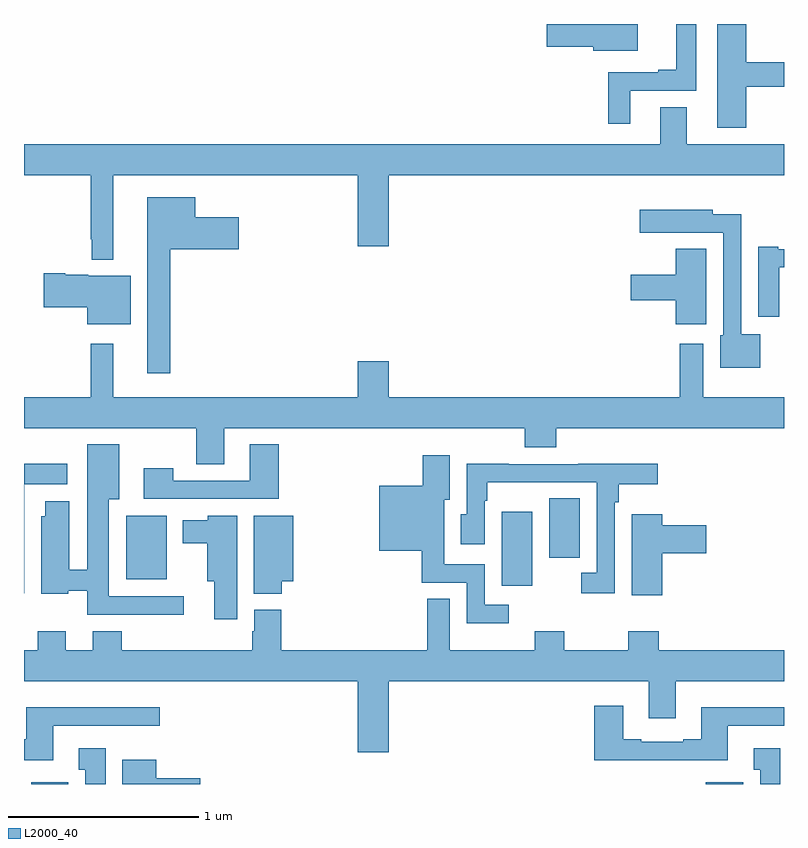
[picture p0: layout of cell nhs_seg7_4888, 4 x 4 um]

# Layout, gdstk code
import gdstk
lib = gdstk.Library(unit=1e-6, precision=1e-09)
def R(c, l, rs):  # rectangles x0, y0, x1, y1
    for r in rs: c.add(gdstk.rectangle(r[:2], r[2:], *l))
def P(c, l, *ps):  # polygons
    for p in ps: c.add(gdstk.Polygon(p, *l))
L2000_40 = (2000, 40)

nhs_seg7_4888 = lib.new_cell('nhs_seg7_4888')
R(nhs_seg7_4888, L2000_40, [(415.037,1076,415.234,1076.008), (418.589,1076,418.786,1076.008), (417.515,1077.044,417.676,1077.433), (415.538,1077.077,415.75,1077.412), (417.764,1077.192,417.925,1077.503)])
P(nhs_seg7_4888, L2000_40, [(418.231,1080),(417.75,1080),(417.75,1079.879),(417.995,1079.879),(417.995,1079.858),(418.231,1079.858)],
  [(418.802,1079.67),(419,1079.67),(419,1079.798),(418.802,1079.798),(418.802,1080),(418.649,1080),(418.649,1079.453),(418.802,1079.453)],
  [(418.192,1079.649),(418.537,1079.649),(418.537,1080),(418.433,1080),(418.433,1079.758),(418.337,1079.758),(418.337,1079.745),(418.075,1079.745),(418.075,1079.475),(418.192,1079.475)],
  [(415.471,1079.204),(416.756,1079.204),(416.756,1078.83),(416.92,1078.83),(416.92,1079.204),(419,1079.204),(419,1079.368),(418.489,1079.368),(418.489,1079.563),(418.349,1079.563),(418.349,1079.368),(415,1079.368),(415,1079.204),(415.35,1079.204),(415.35,1078.867),(415.357,1078.867),(415.357,1078.76),(415.471,1078.76)],
  [(415.771,1078.814),(416.131,1078.814),(416.131,1078.984),(415.9,1078.984),(415.9,1079.089),(415.649,1079.089),(415.649,1078.161),(415.771,1078.161)],
  [(418.876,1078.366),(418.776,1078.366),(418.776,1079),(418.626,1079),(418.626,1079.023),(418.242,1079.023),(418.242,1078.901),(418.469,1078.901),(418.469,1078.902),(418.68,1078.902),(418.68,1078.362),(418.664,1078.362),(418.664,1078.19),(418.876,1078.19)],
  [(418.975,1078.719),(419,1078.719),(419,1078.815),(418.969,1078.815),(418.969,1078.828),(418.865,1078.828),(418.865,1078.458),(418.975,1078.458)],
  [(418.591,1078.816),(418.43,1078.816),(418.43,1078.681),(418.194,1078.681),(418.194,1078.547),(418.43,1078.547),(418.43,1078.419),(418.591,1078.419)],
  [(415.561,1078.675),(415.338,1078.675),(415.338,1078.681),(415.216,1078.681),(415.216,1078.688),(415.104,1078.688),(415.104,1078.51),(415.334,1078.51),(415.334,1078.421),(415.561,1078.421)],
  [(416.053,1077.872),(417.635,1077.872),(417.635,1077.773),(417.8,1077.773),(417.8,1077.872),(419,1077.872),(419,1078.036),(418.576,1078.036),(418.576,1078.318),(418.451,1078.318),(418.451,1078.036),(416.92,1078.036),(416.92,1078.225),(416.756,1078.225),(416.756,1078.036),(415.471,1078.036),(415.471,1078.318),(415.35,1078.318),(415.35,1078.036),(415,1078.036),(415,1077.872),(415.906,1077.872),(415.906,1077.682),(416.053,1077.682)],
  [(416.342,1077.787),(416.189,1077.787),(416.189,1077.597),(415.785,1077.597),(415.785,1077.661),(415.629,1077.661),(415.629,1077.501),(416.342,1077.501)],
  [(415.84,1076.988),(415.447,1076.988),(415.447,1077.5),(415.501,1077.5),(415.501,1077.787),(415.334,1077.787),(415.334,1077.127),(415.237,1077.127),(415.237,1077.487),(415.112,1077.487),(415.112,1077.408),(415.091,1077.408),(415.091,1077.002),(415.233,1077.002),(415.233,1077.017),(415.334,1077.017),(415.334,1076.891),(415.84,1076.891)],
  [(417.55,1076.943),(417.426,1076.943),(417.426,1077.156),(417.211,1077.156),(417.211,1077.497),(417.241,1077.497),(417.241,1077.73),(417.098,1077.73),(417.098,1077.571),(416.87,1077.571),(416.87,1077.227),(417.093,1077.227),(417.093,1077.06),(417.33,1077.06),(417.33,1076.846),(417.55,1076.846)],
  [(418.11,1077.482),(418.13,1077.482),(418.13,1077.578),(418.336,1077.578),(418.336,1077.686),(417.917,1077.686),(417.917,1077.684),(417.551,1077.684),(417.551,1077.686),(417.33,1077.686),(417.33,1077.42),(417.299,1077.42),(417.299,1077.261),(417.426,1077.261),(417.426,1077.491),(417.439,1077.491),(417.439,1077.587),(417.668,1077.587),(417.668,1077.588),(418.014,1077.588),(418.014,1077.111),(417.933,1077.111),(417.933,1077.003),(418.11,1077.003)],
  [(415.002,1077.578),(415.228,1077.578),(415.228,1077.686),(415,1077.686),(415,1077.003),(415.002,1077.003)],
  [(418.358,1077.215),(418.591,1077.215),(418.591,1077.362),(418.358,1077.362),(418.358,1077.421),(418.199,1077.421),(418.199,1076.994),(418.358,1076.994)],
  [(416.122,1077.412),(415.968,1077.412),(415.968,1077.388),(415.835,1077.388),(415.835,1077.266),(415.964,1077.266),(415.964,1077.068),(416,1077.068),(416,1076.868),(416.122,1076.868)],
  [(416.357,1077.068),(416.416,1077.068),(416.416,1077.412),(416.21,1077.412),(416.21,1077.001),(416.357,1077.001)],
  [(416.92,1076.54),(418.289,1076.54),(418.289,1076.346),(418.429,1076.346),(418.429,1076.54),(419,1076.54),(419,1076.704),(418.34,1076.704),(418.34,1076.803),(418.18,1076.803),(418.18,1076.704),(417.843,1076.704),(417.843,1076.803),(417.688,1076.803),(417.688,1076.704),(417.241,1076.704),(417.241,1076.975),(417.123,1076.975),(417.123,1076.704),(416.354,1076.704),(416.354,1076.916),(416.213,1076.916),(416.213,1076.805),(416.201,1076.805),(416.201,1076.704),(415.514,1076.704),(415.514,1076.803),(415.361,1076.803),(415.361,1076.704),(415.219,1076.704),(415.219,1076.803),(415.072,1076.803),(415.072,1076.704),(415,1076.704),(415,1076.54),(416.756,1076.54),(416.756,1076.166),(416.92,1076.166)],
  [(418.705,1076.307),(419,1076.307),(419,1076.404),(418.565,1076.404),(418.565,1076.236),(418.469,1076.236),(418.469,1076.223),(418.249,1076.223),(418.249,1076.236),(418.153,1076.236),(418.153,1076.413),(418.001,1076.413),(418.001,1076.126),(418.705,1076.126)],
  [(415.153,1076.307),(415.714,1076.307),(415.714,1076.404),(415.013,1076.404),(415.013,1076.236),(415,1076.236),(415,1076.126),(415.153,1076.126)],
  [(415.429,1076.188),(415.289,1076.188),(415.289,1076.075),(415.322,1076.075),(415.322,1076),(415.429,1076)],
  [(418.981,1076.188),(418.841,1076.188),(418.841,1076.075),(418.874,1076.075),(418.874,1076),(418.981,1076)],
  [(415.927,1076.03),(415.696,1076.03),(415.696,1076.128),(415.517,1076.128),(415.517,1076),(415.927,1076)])

lib.write_gds('nhs_seg7_4888.gds')
